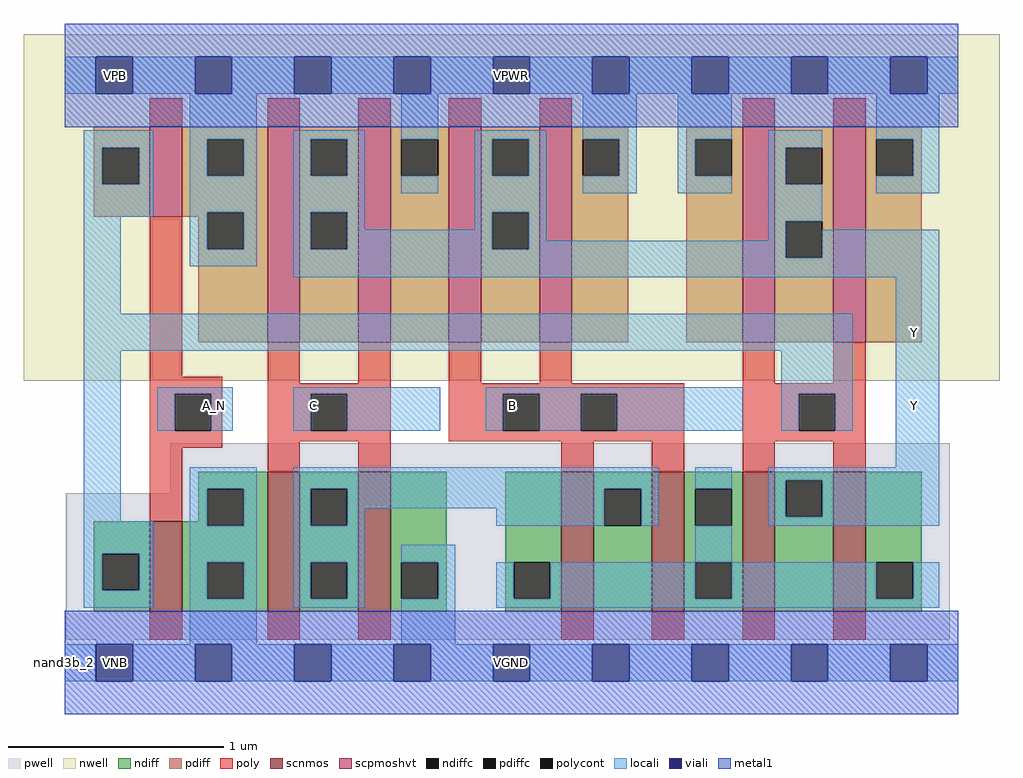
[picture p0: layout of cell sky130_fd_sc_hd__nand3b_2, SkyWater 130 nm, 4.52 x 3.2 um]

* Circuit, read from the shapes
.subckt sky130_fd_sc_hd__nand3b_2 A_N B C VGND VNB VPB VPWR Y
XM1 VGND A_N n1 VNB sky130_fd_pr__nfet_01v8 w=0.42 l=0.15
XM2 n2 C VGND VNB sky130_fd_pr__nfet_01v8 w=0.65 l=0.15 m=2
XM3 n2 B n3 VNB sky130_fd_pr__nfet_01v8 w=0.65 l=0.15 m=2
XM4 Y n1 n3 VNB sky130_fd_pr__nfet_01v8 w=0.65 l=0.15 m=2
XM5 VPWR A_N n1 VPB sky130_fd_pr__pfet_01v8_hvt w=0.42 l=0.15
XM6 Y C VPWR VPB sky130_fd_pr__pfet_01v8_hvt w=1 l=0.15 m=2
XM7 Y B VPWR VPB sky130_fd_pr__pfet_01v8_hvt w=1 l=0.15 m=2
XM8 Y n1 VPWR VPB sky130_fd_pr__pfet_01v8_hvt w=1 l=0.15 m=2
.ends

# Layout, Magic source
magic
tech sky130A
magscale 1 2
<< nwell >>
rect -38 261 866 582
<< pwell >>
rect 98 157 820 203
rect 1 21 820 157
rect 30 -17 64 21
<< scnmos >>
rect 79 47 109 131
rect 188 47 218 177
rect 272 47 302 177
rect 460 47 490 177
rect 544 47 574 177
rect 628 47 658 177
rect 712 47 742 177
<< scpmoshvt >>
rect 79 413 109 497
rect 188 297 218 497
rect 272 297 302 497
rect 356 297 386 497
rect 440 297 470 497
rect 628 297 658 497
rect 712 297 742 497
<< ndiff >>
rect 124 161 188 177
rect 124 131 132 161
rect 27 101 79 131
rect 27 67 35 101
rect 69 67 79 101
rect 27 47 79 67
rect 109 127 132 131
rect 166 127 188 161
rect 109 93 188 127
rect 109 59 132 93
rect 166 59 188 93
rect 109 47 188 59
rect 218 161 272 177
rect 218 127 228 161
rect 262 127 272 161
rect 218 93 272 127
rect 218 59 228 93
rect 262 59 272 93
rect 218 47 272 59
rect 302 93 354 177
rect 302 59 312 93
rect 346 59 354 93
rect 302 47 354 59
rect 408 93 460 177
rect 408 59 416 93
rect 450 59 460 93
rect 408 47 460 59
rect 490 161 544 177
rect 490 127 500 161
rect 534 127 544 161
rect 490 47 544 127
rect 574 161 628 177
rect 574 127 584 161
rect 618 127 628 161
rect 574 93 628 127
rect 574 59 584 93
rect 618 59 628 93
rect 574 47 628 59
rect 658 169 712 177
rect 658 135 668 169
rect 702 135 712 169
rect 658 47 712 135
rect 742 93 794 177
rect 742 59 752 93
rect 786 59 794 93
rect 742 47 794 59
<< pdiff >>
rect 27 477 79 497
rect 27 443 35 477
rect 69 443 79 477
rect 27 413 79 443
rect 109 485 188 497
rect 109 451 132 485
rect 166 451 188 485
rect 109 417 188 451
rect 109 413 132 417
rect 124 383 132 413
rect 166 383 188 417
rect 124 297 188 383
rect 218 485 272 497
rect 218 451 228 485
rect 262 451 272 485
rect 218 417 272 451
rect 218 383 228 417
rect 262 383 272 417
rect 218 297 272 383
rect 302 485 356 497
rect 302 451 312 485
rect 346 451 356 485
rect 302 297 356 451
rect 386 485 440 497
rect 386 451 396 485
rect 430 451 440 485
rect 386 417 440 451
rect 386 383 396 417
rect 430 383 440 417
rect 386 297 440 383
rect 470 485 522 497
rect 470 451 480 485
rect 514 451 522 485
rect 470 297 522 451
rect 576 485 628 497
rect 576 451 584 485
rect 618 451 628 485
rect 576 297 628 451
rect 658 477 712 497
rect 658 443 668 477
rect 702 443 712 477
rect 658 409 712 443
rect 658 375 668 409
rect 702 375 712 409
rect 658 297 712 375
rect 742 485 794 497
rect 742 451 752 485
rect 786 451 794 485
rect 742 297 794 451
<< ndiffc >>
rect 35 67 69 101
rect 132 127 166 161
rect 132 59 166 93
rect 228 127 262 161
rect 228 59 262 93
rect 312 59 346 93
rect 416 59 450 93
rect 500 127 534 161
rect 584 127 618 161
rect 584 59 618 93
rect 668 135 702 169
rect 752 59 786 93
<< pdiffc >>
rect 35 443 69 477
rect 132 451 166 485
rect 132 383 166 417
rect 228 451 262 485
rect 228 383 262 417
rect 312 451 346 485
rect 396 451 430 485
rect 396 383 430 417
rect 480 451 514 485
rect 584 451 618 485
rect 668 443 702 477
rect 668 375 702 409
rect 752 451 786 485
<< poly >>
rect 79 497 109 523
rect 188 497 218 523
rect 272 497 302 523
rect 356 497 386 523
rect 440 497 470 523
rect 628 497 658 523
rect 712 497 742 523
rect 79 265 109 413
rect 79 249 146 265
rect 79 215 102 249
rect 136 215 146 249
rect 79 199 146 215
rect 188 259 218 297
rect 272 259 302 297
rect 188 249 302 259
rect 188 215 228 249
rect 262 215 302 249
rect 188 205 302 215
rect 356 259 386 297
rect 440 259 470 297
rect 628 259 658 297
rect 712 259 742 297
rect 356 249 574 259
rect 356 215 406 249
rect 440 215 478 249
rect 512 215 574 249
rect 356 205 574 215
rect 79 131 109 199
rect 188 177 218 205
rect 272 177 302 205
rect 460 177 490 205
rect 544 177 574 205
rect 628 249 742 259
rect 628 215 680 249
rect 714 215 742 249
rect 628 205 742 215
rect 628 177 658 205
rect 712 177 742 205
rect 79 21 109 47
rect 188 21 218 47
rect 272 21 302 47
rect 460 21 490 47
rect 544 21 574 47
rect 628 21 658 47
rect 712 21 742 47
<< polycont >>
rect 102 215 136 249
rect 228 215 262 249
rect 406 215 440 249
rect 478 215 512 249
rect 680 215 714 249
<< locali >>
rect 0 527 29 561
rect 63 527 121 561
rect 155 527 213 561
rect 247 527 305 561
rect 339 527 397 561
rect 431 527 489 561
rect 523 527 581 561
rect 615 527 673 561
rect 707 527 765 561
rect 799 527 828 561
rect 18 477 82 493
rect 18 443 35 477
rect 69 443 82 477
rect 18 413 82 443
rect 116 485 178 527
rect 116 451 132 485
rect 166 451 178 485
rect 116 417 178 451
rect 18 323 52 413
rect 116 383 132 417
rect 166 383 178 417
rect 116 367 178 383
rect 212 485 278 493
rect 212 451 228 485
rect 262 451 278 485
rect 212 417 278 451
rect 312 485 346 527
rect 312 435 346 451
rect 380 485 446 493
rect 380 451 396 485
rect 430 451 446 485
rect 212 383 228 417
rect 262 401 278 417
rect 380 417 446 451
rect 480 485 530 527
rect 514 451 530 485
rect 480 435 530 451
rect 568 485 618 527
rect 568 451 584 485
rect 568 435 618 451
rect 652 477 702 493
rect 652 443 668 477
rect 380 401 396 417
rect 262 383 396 401
rect 430 391 446 417
rect 652 409 702 443
rect 752 485 810 527
rect 786 451 810 485
rect 752 435 810 451
rect 652 391 668 409
rect 430 383 668 391
rect 212 375 668 383
rect 702 375 810 401
rect 212 357 810 375
rect 18 289 730 323
rect 18 131 52 289
rect 86 249 156 255
rect 86 215 102 249
rect 136 215 156 249
rect 212 249 348 255
rect 212 215 228 249
rect 262 215 348 249
rect 390 249 628 255
rect 390 215 406 249
rect 440 215 478 249
rect 512 215 628 249
rect 664 249 730 289
rect 664 215 680 249
rect 714 215 730 249
rect 770 181 810 357
rect 116 161 178 181
rect 18 101 82 131
rect 18 67 35 101
rect 69 67 82 101
rect 18 51 82 67
rect 116 127 132 161
rect 166 127 178 161
rect 116 93 178 127
rect 116 59 132 93
rect 166 59 178 93
rect 116 17 178 59
rect 212 161 550 181
rect 212 127 228 161
rect 262 143 500 161
rect 262 127 278 143
rect 400 127 500 143
rect 534 127 550 161
rect 584 161 618 181
rect 652 169 810 181
rect 652 135 668 169
rect 702 135 810 169
rect 652 127 810 135
rect 212 93 278 127
rect 212 59 228 93
rect 262 59 278 93
rect 212 51 278 59
rect 312 93 362 109
rect 584 93 618 127
rect 346 59 362 93
rect 312 17 362 59
rect 400 59 416 93
rect 450 59 584 93
rect 618 59 752 93
rect 786 59 810 93
rect 400 51 810 59
rect 0 -17 29 17
rect 63 -17 121 17
rect 155 -17 213 17
rect 247 -17 305 17
rect 339 -17 397 17
rect 431 -17 489 17
rect 523 -17 581 17
rect 615 -17 673 17
rect 707 -17 765 17
rect 799 -17 828 17
<< viali >>
rect 29 527 63 561
rect 121 527 155 561
rect 213 527 247 561
rect 305 527 339 561
rect 397 527 431 561
rect 489 527 523 561
rect 581 527 615 561
rect 673 527 707 561
rect 765 527 799 561
rect 29 -17 63 17
rect 121 -17 155 17
rect 213 -17 247 17
rect 305 -17 339 17
rect 397 -17 431 17
rect 489 -17 523 17
rect 581 -17 615 17
rect 673 -17 707 17
rect 765 -17 799 17
<< metal1 >>
rect 0 561 828 592
rect 0 527 29 561
rect 63 527 121 561
rect 155 527 213 561
rect 247 527 305 561
rect 339 527 397 561
rect 431 527 489 561
rect 523 527 581 561
rect 615 527 673 561
rect 707 527 765 561
rect 799 527 828 561
rect 0 496 828 527
rect 0 17 828 48
rect 0 -17 29 17
rect 63 -17 121 17
rect 155 -17 213 17
rect 247 -17 305 17
rect 339 -17 397 17
rect 431 -17 489 17
rect 523 -17 581 17
rect 615 -17 673 17
rect 707 -17 765 17
rect 799 -17 828 17
rect 0 -48 828 -17
<< labels >>
flabel locali s 770 221 804 255 0 FreeSans 200 0 0 0 Y
port 8 nsew signal output
flabel locali s 214 221 248 255 0 FreeSans 200 0 0 0 C
port 3 nsew signal input
flabel locali s 122 221 156 255 0 FreeSans 200 0 0 0 A_N
port 1 nsew signal input
flabel locali s 398 221 432 255 0 FreeSans 200 0 0 0 B
port 2 nsew signal input
flabel locali s 770 289 804 323 0 FreeSans 200 0 0 0 Y
port 8 nsew signal output
flabel locali s 415 238 415 238 0 FreeSans 200 0 0 0 B
flabel pwell s 30 -17 64 17 0 FreeSans 200 0 0 0 VNB
port 5 nsew ground bidirectional
flabel nwell s 30 527 64 561 0 FreeSans 200 0 0 0 VPB
port 6 nsew power bidirectional
flabel metal1 s 30 -17 64 17 0 FreeSans 200 0 0 0 VGND
port 4 nsew ground bidirectional abutment
flabel metal1 s 30 527 64 561 0 FreeSans 200 0 0 0 VPWR
port 7 nsew power bidirectional abutment
rlabel comment s 0 0 0 0 4 nand3b_2
rlabel metal1 s 0 -48 828 48 1 VGND
port 4 nsew ground bidirectional abutment
rlabel metal1 s 0 496 828 592 1 VPWR
port 7 nsew power bidirectional abutment
<< properties >>
string FIXED_BBOX 0 0 828 544
string GDS_END 1850952
string GDS_FILE $PDKPATH/libs.ref/sky130_fd_sc_hd/gds/sky130_fd_sc_hd.gds
string GDS_START 1844004
string LEFclass CORE
string LEFsite unithd
string LEFsymmetry X Y R90
string path 0.000 0.000 20.700 0.000 
<< end >>
